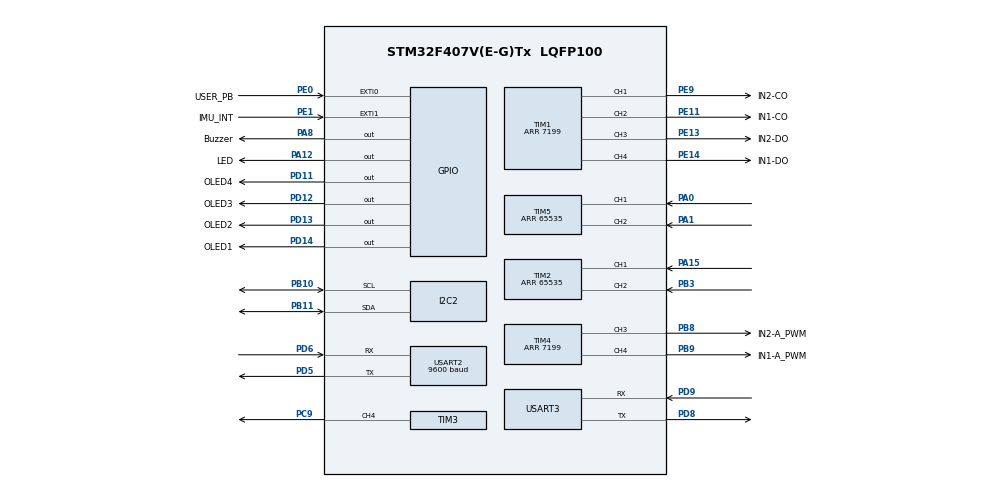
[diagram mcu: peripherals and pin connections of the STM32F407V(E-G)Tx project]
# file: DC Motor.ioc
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Mcu.Family=STM32F4
Mcu.Name=STM32F407V(E-G)Tx
Mcu.Package=LQFP100
NVIC.EXTI0_IRQn=true\:0\:0\:false\:false\:true\:true\:true\:true
NVIC.EXTI1_IRQn=true\:0\:0\:false\:false\:true\:true\:true\:true
NVIC.PriorityGroup=NVIC_PRIORITYGROUP_4
NVIC.RCC_IRQn=true\:0\:0\:false\:false\:true\:true\:false\:true
NVIC.TIM2_IRQn=true\:0\:0\:false\:false\:true\:true\:true\:true
NVIC.USART2_IRQn=true\:0\:0\:false\:false\:true\:true\:true\:true
PA0-WKUP.Signal=S_TIM5_CH1
PA1.Signal=S_TIM5_CH2
PA12.GPIO_Label=LED
PA12.Signal=GPIO_Output
PA13.Mode=Serial_Wire
PA13.Signal=SYS_JTMS-SWDIO
PA14.Mode=Serial_Wire
PA14.Signal=SYS_JTCK-SWCLK
PA15.Signal=S_TIM2_CH1_ETR
PA8.GPIO_Label=Buzzer
PA8.Signal=GPIO_Output
PB10.Mode=I2C
PB10.Signal=I2C2_SCL
PB11.Mode=I2C
PB11.Signal=I2C2_SDA
PB3.Signal=S_TIM2_CH2
PB8.GPIO_Label=IN2-A_PWM
PB8.Signal=S_TIM4_CH3
PB9.GPIO_Label=IN1-A_PWM
PB9.Signal=S_TIM4_CH4
PC9.Signal=S_TIM3_CH4
PD11.GPIO_Label=OLED4
PD11.Signal=GPIO_Output
PD12.GPIO_Label=OLED3
PD12.Signal=GPIO_Output
PD13.GPIO_Label=OLED2
PD13.Signal=GPIO_Output
PD14.GPIO_Label=OLED1
PD14.Signal=GPIO_Output
PD5.Mode=Asynchronous
PD5.Signal=USART2_TX
PD6.Mode=Asynchronous
PD6.Signal=USART2_RX
PD8.Mode=Asynchronous
PD8.Signal=USART3_TX
PD9.Mode=Asynchronous
PD9.Signal=USART3_RX
PE0.GPIO_Label=USER_PB
PE0.Signal=GPXTI0
PE1.GPIO_Label=IMU_INT
PE1.Signal=GPXTI1
PE11.GPIO_Label=IN1-CO
PE11.Signal=S_TIM1_CH2
PE13.GPIO_Label=IN2-DO
PE13.Signal=S_TIM1_CH3
PE14.GPIO_Label=IN1-DO
PE14.Signal=S_TIM1_CH4
PE9.GPIO_Label=IN2-CO
PE9.Signal=S_TIM1_CH1
PH0-OSC_IN.Mode=HSE-External-Oscillator
PH0-OSC_IN.Signal=RCC_OSC_IN
PH1-OSC_OUT.Mode=HSE-External-Oscillator
PH1-OSC_OUT.Signal=RCC_OSC_OUT
ProjectManager.HeapSize=0x200
ProjectManager.StackSize=0x400
ProjectManager.TargetToolchain=STM32CubeIDE
RCC.48MHZClocksFreq_Value=36000000
RCC.AHBFreq_Value=72000000
RCC.APB1CLKDivider=RCC_HCLK_DIV2
RCC.APB1Freq_Value=36000000
RCC.APB1TimFreq_Value=72000000
RCC.APB2Freq_Value=72000000
RCC.APB2TimFreq_Value=72000000
RCC.CortexFreq_Value=72000000
RCC.HCLKFreq_Value=72000000
RCC.HSE_VALUE=8000000
RCC.HSI_VALUE=16000000
RCC.LSE_VALUE=32768
RCC.PLLM=4
RCC.PLLN=72
RCC.PLLSourceVirtual=RCC_PLLSOURCE_HSE
RCC.SYSCLKFreq_VALUE=72000000
RCC.SYSCLKSource=RCC_SYSCLKSOURCE_PLLCLK
RCC.VCOOutputFreq_Value=144000000
SH.S_TIM1_CH1.0=TIM1_CH1,PWM Generation1 CH1
SH.S_TIM1_CH2.0=TIM1_CH2,PWM Generation2 CH2
SH.S_TIM1_CH3.0=TIM1_CH3,PWM Generation3 CH3
SH.S_TIM1_CH4.0=TIM1_CH4,PWM Generation4 CH4
SH.S_TIM2_CH1_ETR.0=TIM2_CH1,Encoder_Interface
SH.S_TIM2_CH2.0=TIM2_CH2,Encoder_Interface
SH.S_TIM3_CH4.0=TIM3_CH4,PWM Generation4 CH4
SH.S_TIM4_CH3.0=TIM4_CH3,PWM Generation3 CH3
SH.S_TIM4_CH4.0=TIM4_CH4,PWM Generation4 CH4
SH.S_TIM5_CH1.0=TIM5_CH1,Encoder_Interface
SH.S_TIM5_CH2.0=TIM5_CH2,Encoder_Interface
TIM1.Channel-PWM\ Generation1\ CH1=TIM_CHANNEL_1
TIM1.Channel-PWM\ Generation2\ CH2=TIM_CHANNEL_2
TIM1.Channel-PWM\ Generation3\ CH3=TIM_CHANNEL_3
TIM1.Channel-PWM\ Generation4\ CH4=TIM_CHANNEL_4
TIM1.CounterMode=TIM_COUNTERMODE_UP
TIM1.OCPolarity_3=TIM_OCPOLARITY_HIGH
TIM1.OCPolarity_4=TIM_OCPOLARITY_HIGH
TIM1.Period=7199
TIM11.Channel=TIM_CHANNEL_1
TIM11.Period=7199
TIM2.AutoReloadPreload=TIM_AUTORELOAD_PRELOAD_DISABLE
TIM2.EncoderMode=TIM_ENCODERMODE_TI1
TIM2.IC1Filter=0
TIM2.IC1Polarity=TIM_ICPOLARITY_RISING
TIM2.IC2Filter=0
TIM2.IC2Polarity=TIM_ICPOLARITY_RISING
TIM2.Period=65535
TIM3.Channel-PWM\ Generation4\ CH4=TIM_CHANNEL_4
TIM3.Period=2000
TIM3.Prescaler=720
TIM4.Channel-PWM\ Generation3\ CH3=TIM_CHANNEL_3
TIM4.Channel-PWM\ Generation4\ CH4=TIM_CHANNEL_4
TIM4.CounterMode=TIM_COUNTERMODE_UP
TIM4.OCPolarity_3=TIM_OCPOLARITY_LOW
TIM4.OCPolarity_4=TIM_OCPOLARITY_LOW
TIM4.Period=7199
TIM5.IC1Filter=0
TIM5.IC1Polarity=TIM_ICPOLARITY_RISING
TIM5.IC2Filter=0
TIM5.IC2Polarity=TIM_ICPOLARITY_RISING
TIM5.Period=65535
TIM8.Period=7199
USART2.BaudRate=9600
USART2.VirtualMode=VM_ASYNC
USART3.VirtualMode=VM_ASYNC
VP_TIM11_VS_ClockSourceINT.Mode=Enable_Timer
VP_TIM11_VS_no_output1.Mode=PWM Generation1 No Output
VP_TIM1_VS_ClockSourceINT.Mode=Internal
VP_TIM3_VS_ClockSourceINT.Mode=Internal
VP_TIM4_VS_ClockSourceINT.Mode=Internal
VP_TIM8_VS_ClockSourceINT.Mode=Internal
board=custom

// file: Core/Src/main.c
		/* USER CODE BEGIN Header */
	/**
	  ******************************************************************************
	  * @file           : main.c for Lab 4 (for Ver D STM32F board)
	  * @brief          : Main program body
	  ******************************************************************************
	  * @attention
	  *
	  * Copyright (c) 2022 STMicroelectronics.
	  * All rights reserved.
	  *
	  * This software is licensed under terms that can be found in the LICENSE file
	  * in the root directory of this software component.
	  * If no LICENSE file comes with this software, it is provided AS-IS.
	  *
	  ******************************************************************************
	  */
	/* USER CODE END Header */
	/* Includes ------------------------------------------------------------------*/
	#include "main.h"

	/* Private includes ----------------------------------------------------------*/
	/* USER CODE BEGIN Includes */
	#include "oled.h"
	//#include "ICM20948.h"
	//#include <math.h>
	/* USER CODE END Includes */

	/* Private typedef -----------------------------------------------------------*/

	/* Private define ------------------------------------------------------------*/

	/* Private macro -------------------------------------------------------------*/

	/* Private variables ---------------------------------------------------------*/
	 I2C_HandleTypeDef hi2c2;

	TIM_HandleTypeDef htim1;
	TIM_HandleTypeDef htim2;
	TIM_HandleTypeDef htim3;
	TIM_HandleTypeDef htim4;
	TIM_HandleTypeDef htim5;
	TIM_HandleTypeDef htim8;
	TIM_HandleTypeDef htim11;

	UART_HandleTypeDef huart2;
	UART_HandleTypeDef huart3;

	/* USER CODE BEGIN PV */
	#include "oled.h"
	//#include "MPU6050.h"
	#include <math.h>
	float motor_C_speed_factor = 0.089;  // 70% of calculated speed (adjust 0.1 to 1.0)
	float motor_D_speed_factor = 0.0769;
	int direction_state = 0;
	/* USER CODE END PV */

	/* Private function prototypes -----------------------------------------------*/
	void SystemClock_Config(void);
	static void MX_GPIO_Init(void);
	static void MX_TIM8_Init(void);
	static void MX_TIM2_Init(void);
	static void MX_USART2_UART_Init(void);
	static void MX_TIM1_Init(void);
	static void MX_USART3_UART_Init(void);
	static void MX_I2C2_Init(void);
	static void MX_TIM5_Init(void);
	static void MX_TIM4_Init(void);
	static void MX_TIM3_Init(void);
	static void MX_TIM11_Init(void);

	/* Private user code ---------------------------------------------------------*/
	/* USER CODE BEGIN 0 */

	uint32_t counter = 0;    // Timer 2 counter
	int16_t count = 0;       // Convert counter to signed value
	int16_t no_of_tick = 50; // number of tick used in SysTick to calculate speed, in msec
	int16_t speed =0;        // speed in term of number of edges detected per Systick
	int16_t rpm = 0;         // speed in rpm number of count/sec * 60 sec  divide by 260 count per round
	int start=0;             // use to start stop the motor
	int32_t pwmVal=0;       //pwm value to control motor speed
	int32_t pwmVal_raw=0;   //pwm value before clamping - for debugging
	int16_t pwmMax = (7200-200); // Maximum PWM value = 7200 keep the maximum value to 7000
	int16_t pwmMin = 250;    // offset value to compensate for deadzone
	int err; // status for checking return

	char buf[20];      //buffer for displaying values on OLED display
	int encoder_A = 0; // encoders reading of Drive A (from complement of TIM2->CNT)
	int encoder_D = 0; // encoders reading of Drive D (from TIM5->CNT)

	int16_t position = 0;     // position of the motor (1 rotation = 260 count)
	extern int16_t oldpos;    // // see SysTick_Handler in stm32f4xx_it.c
	int16_t angle = 0;        // angle of rotation, in degree resolution = 360 degree/260 tick
	int16_t target_angle = 0; // target angle of rotation,
	int16_t position_target;  // target position
	int16_t direction;        // motor direction 0 or 1
	int16_t error;            // error between target and actual
	int32_t error_area = 0;   // area under error - to calculate I for PI implementation
	int32_t error_old, error_change, error_rate; // to calculate D for PID control
	int32_t millisOld, millisNow, dt; // to calculate I and D for PID control

	int16_t Kp = 0;  // Initial PID values
	int16_t Kd = 0;
	float_t Ki = 0;

#define PWM_ARR 7199   // same as TIM1->ARR / htim1.Init.Period

	void HAL_TIM_IC_CaptureCallback(TIM_HandleTypeDef *htim){
		counter = __HAL_TIM_GET_COUNTER(htim);
		count = (int16_t)counter;
		position = count/2;  // x2 encoding
		angle = count/2; // x2 encoding
	}

	void HAL_GPIO_EXTI_Callback( uint16_t GPIO_Pin ) {
	    // see EXTI0_IRQHandler() in stm32f4xx_it.c for interrupt
	    if ( GPIO_Pin == USER_PB_Pin) {
	        // toggle LED
	        HAL_GPIO_TogglePin(GPIOA, GPIO_PIN_12); // LED - A12

	        // Toggle direction state
	        direction_state = !direction_state;  // Simpler toggle: 0->1 or 1->0
	    }
	}

//	void HAL_GPIO_EXTI_Callback( uint16_t GPIO_Pin ) {
//		 // see EXTI0_IRQHandler() in stm32f4xx_it.c for interrupt
//		if ( GPIO_Pin == USER_PB_Pin) {
//			// toggle LED
//			HAL_GPIO_TogglePin(GPIOA, GPIO_PIN_12); // LED - A12
//			if (start == 0){
//				start = 1;
//				// reset all value to Zero
//				TIM2->CNT = 0; // Timer Counter Value
//				speed = 0;
//				position = 0;  // see SysTick_Handler in stm32f4xx_it.c
//				oldpos = 0; // see SysTick_Handler in stm32f4xx_it.c
//				angle = 0;
//				pwmVal = 0;
//				}
//			else
//				start = 0;
//			}
//	}

	void MotorDrive_enable(void) {
		  //Enable PWM through TIM4-CH1/CH4 to drive the DC motor - Rev D board
		  HAL_TIM_PWM_Start(&htim4, TIM_CHANNEL_3);  // on Motor drive A interface
		  HAL_TIM_PWM_Start(&htim4, TIM_CHANNEL_4);  // on Motor drive A interface
		  HAL_TIM_PWM_Start(&htim1, TIM_CHANNEL_3);  // on Motor drive D interface
		  HAL_TIM_PWM_Start(&htim1, TIM_CHANNEL_4);  // on Motor drive D interface
		  HAL_TIM_PWM_Start(&htim1, TIM_CHANNEL_1);//cout
		  HAL_TIM_PWM_Start(&htim1, TIM_CHANNEL_2);//cout

	}

	void MotorC_direction(uint8_t forward){
	  if(forward){
		__HAL_TIM_SetCompare(&htim1, TIM_CHANNEL_1, 0); // IN1=0
	  } else {
		__HAL_TIM_SetCompare(&htim1, TIM_CHANNEL_2, 0); // IN2=0
	  }
	}
	void MotorC_stop(void){
	  __HAL_TIM_SetCompare(&htim1, TIM_CHANNEL_1, PWM_ARR);
	  __HAL_TIM_SetCompare(&htim1, TIM_CHANNEL_2, PWM_ARR);
	}

	void MotorC_forward(int pwm){
	  // choose which channel means "forward" for your wiring
	  __HAL_TIM_SetCompare(&htim1, TIM_CHANNEL_1, pwm);
	  __HAL_TIM_SetCompare(&htim1, TIM_CHANNEL_2, 0);
	}

	void MotorC_reverse(int pwm){
	  __HAL_TIM_SetCompare(&htim1, TIM_CHANNEL_1, 0);
	  __HAL_TIM_SetCompare(&htim1, TIM_CHANNEL_2, pwm);
	}

	void MotorD_reverse(int pwm){
	  // Motor D forward
	  __HAL_TIM_SetCompare(&htim1, TIM_CHANNEL_3, 0);  // IN1=0
	  __HAL_TIM_SetCompare(&htim1, TIM_CHANNEL_4, pwm); // IN2=pwm
	}

	void MotorD_forward(int pwm){
	  // Motor D reverse
	  __HAL_TIM_SetCompare(&htim1, TIM_CHANNEL_3, pwm); // IN1=pwm
	  __HAL_TIM_SetCompare(&htim1, TIM_CHANNEL_4, 0);   // IN2=0
	}

	void Motor_stop(void) {
			//Set both IN1 and IN2 pins = '1'
			__HAL_TIM_SetCompare(&htim4,TIM_CHANNEL_3,0);
			__HAL_TIM_SetCompare(&htim4,TIM_CHANNEL_4,0);
			__HAL_TIM_SetCompare(&htim1,TIM_CHANNEL_3,0);
			__HAL_TIM_SetCompare(&htim1,TIM_CHANNEL_4,0);
			  // C
			  MotorC_stop();

//			__HAL_TIM_SetCompare(&htim1, TIM_CHANNEL_1, 0);
//			  __HAL_TIM_SetCompare(&htim1, TIM_CHANNEL_2, 0);
	}

	void Motor_direction(uint8_t forward) {
		if (forward){// move forward
			__HAL_TIM_SetCompare(&htim4,TIM_CHANNEL_3,0); // set IN1 to maximum PWM (7199) for '1'
			__HAL_TIM_SetCompare(&htim1,TIM_CHANNEL_3,0); // set IN1 to maximum PWM (7199) for '1' for Drive D
		  }
		else { // reverse
			__HAL_TIM_SetCompare(&htim4,TIM_CHANNEL_4,0); // set IN2 to maximum PWM (7199) for '1'
			__HAL_TIM_SetCompare(&htim1,TIM_CHANNEL_4,0); // set IN2 to maximum PWM (7199) for '1' for Drive D
		}
	}

	void Motor_forward(int  pwmVal){
		 // rotate motor in clockwise forward send the values to serial port for display
		 Motor_direction(1); //forward
		 __HAL_TIM_SetCompare(&htim4,TIM_CHANNEL_4,pwmVal); // output PWM waveform to drive motor A
		 __HAL_TIM_SetCompare(&htim1,TIM_CHANNEL_4,pwmVal); // output PWM waveform to drive motor D - for debugging
		 //__HAL_TIM_SetCompare(&htim1, TIM_CHANNEL_1, pwmVal);  // C IN2 pwm

		sprintf(buf, "PWM = %4dF ", pwmVal);
		OLED_ShowString(0, 20, buf);
		//OLED_Refresh_Gram();
	}

	void Motor_reverse(int  pwmVal){
		 // move robot forward send the values to serial port for display
		 Motor_direction(0); //reverse
		 __HAL_TIM_SetCompare(&htim4,TIM_CHANNEL_3,pwmVal); // output PWM waveform to drive motor A
		 __HAL_TIM_SetCompare(&htim1,TIM_CHANNEL_3,pwmVal); // output PWM waveform to drive motor D - for debugging
		  //__HAL_TIM_SetCompare(&htim1, TIM_CHANNEL_2, pwmVal);

		sprintf(buf, "PWM = %4dR ", pwmVal);
		OLED_ShowString(0, 20, buf);
		//OLED_Refresh_Gram();
	}

	int16_t PID_Control(){
		  //Control Loop
		  if (abs(error)>2){ //more than 2 degree difference
			  //HAL_GPIO_TogglePin(GPIOB, GPIO_PIN_10); //Buzzer
			  angle = (int)(position*360/265);  // supposed to be 260 ticks/rev, measured = 265
			  error = target_angle - angle;

			sprintf(buf, "error = %5d, ", (int)error);
			HAL_UART_Transmit(&huart2, buf, 14, HAL_MAX_DELAY); // Send through BT @9600
			sprintf(buf, " Kp = %5d, ", Kp);
			HAL_UART_Transmit(&huart2, buf, 14, HAL_MAX_DELAY); // Send through BT @9600

			if (error > 0)
			  direction = 0; //forward
			else
			  direction = 1; //reverse direction

			millisNow = HAL_GetTick();
			dt = (millisNow - millisOld); // time elapsed in millisecond
			millisOld = millisNow; // store the current time for next round

			error_area = error_area + error*dt; // area under error for Ki

			error_change = error - error_old; // change in error
			error_old = error; //store the error for next round
			error_rate = (error_change)*1000/dt; // for Kd - dt in millsecond

			pwmVal = (int)(error*Kp + error_area*Ki/10000);  // PI, D is below
			pwmVal_raw = (int)(error*Kp); // for debugging

			// Adjust pwmVal to account for deadzone
			if (pwmVal>0)
				pwmVal = pwmVal+pwmMin;
			if (pwmVal<0)
				pwmVal = pwmVal-pwmMin;

			if (pwmVal > pwmMax)  // Clamp the PWM to its maximum positive value
			   pwmVal = pwmMax;

			pwmVal = (int)(pwmVal + error_rate*Kd);  // + D which is subtration

			if (pwmVal < -pwmMax)  // Clamp the PWM to its minimum negative value
			   pwmVal = -pwmMax;

			sprintf(buf, " Praw = %6d, ", pwmVal_raw);
			HAL_UART_Transmit(&huart2, buf, 17, HAL_MAX_DELAY); // Send through BT @9600

			sprintf(buf, " Pwm = %6d ", pwmVal);
			HAL_UART_Transmit(&huart2, buf, 17, HAL_MAX_DELAY); // Send through BT @9600

			buf[0] = '\r';
			buf[1] = '\n';  // move to next line on serial port
			HAL_UART_Transmit(&huart2, buf, 2, HAL_MAX_DELAY); // Send through USB port

			return(pwmVal);
			} // if loop
	}

	void serial_uart(){
		 // send various values to serial port @ usart 3 for display
			  angle = (int)(position*360/265); //Hall Sensor = 26 poles/13 pulses, DC motor = 20x13 = 260 pulses per revolution
											   // measured value = 265 pulses per revolution
			  sprintf(buf, "%5d", angle);
			  OLED_ShowString(60, 10, buf);
			  //also send to serial port
			  HAL_UART_Transmit(&huart3, buf, 5, HAL_MAX_DELAY); // Send to Uart3 USB port

			  buf[0]=',';  // comma separator
			  HAL_UART_Transmit(&huart3, buf, 1, HAL_MAX_DELAY); // Send to Uart3 USB port

			  sprintf(buf, "%5d", target_angle);
			  HAL_UART_Transmit(&huart3, buf, 5, HAL_MAX_DELAY); // Send to Uart3 USB port

			  buf[0]=',';
			  HAL_UART_Transmit(&huart3, buf, 1, HAL_MAX_DELAY); // Send to Uart3 USB port

			  sprintf(buf, "%5d", error);
			  HAL_UART_Transmit(&huart3, buf, 5, HAL_MAX_DELAY); // Send to Uart3 USB port

			  buf[0]=',';
			  HAL_UART_Transmit(&huart3, buf, 1, HAL_MAX_DELAY); // Send to Uart3 USB port

			  sprintf(buf, "%5d", pwmVal);
			  HAL_UART_Transmit(&huart3, buf, 5, HAL_MAX_DELAY); // Send to Uart3 USB port
			  OLED_ShowString(40, 20, buf);

			  buf[0]=',';
			  HAL_UART_Transmit(&huart3, buf, 1, HAL_MAX_DELAY); // Send to Uart3 USB port

			  sprintf(buf, "%5d", error_area);
			  HAL_UART_Transmit(&huart3, buf, 5, HAL_MAX_DELAY); // Send to Uart3 USB port

			  buf[0]=',';
			  HAL_UART_Transmit(&huart3, buf, 1, HAL_MAX_DELAY); // Send to Uart3 USB port

			  sprintf(buf, "%5d", error_change);
			  HAL_UART_Transmit(&huart3, buf, 5, HAL_MAX_DELAY); // Send to Uart3 USB port

			  buf[0]=',';
			  HAL_UART_Transmit(&huart3, buf, 1, HAL_MAX_DELAY); // Send to Uart3 USB port

			  sprintf(buf, "%5d", error_rate);
			  HAL_UART_Transmit(&huart3, buf, 5, HAL_MAX_DELAY); // Send to Uart3 USB port

			  buf[0]=',';
			  HAL_UART_Transmit(&huart3, buf, 1, HAL_MAX_DELAY); // Send to Uart3 USB port

			  sprintf(buf, "%4d ", speed);  // RPM speed of the DC motor
			  HAL_UART_Transmit(&huart3, buf, 5, HAL_MAX_DELAY); // Send to Uart3 USB port
			  OLED_ShowString(40, 30, buf);
			  OLED_Refresh_Gram();

			  buf[0] = '\r';
			  buf[1] = '\n';  // move to next line on serial port
			  HAL_UART_Transmit(&huart3, buf, 2, HAL_MAX_DELAY); // Send through USB port
	}

	/* USER CODE END 0 */

	/**
	  * @brief  The application entry point.
	  * @retval int
	  */
	int main(void)
	{
	  /* USER CODE BEGIN 1 */
	  uint8_t *oled_buf; // buffer to store value to be display on OLED
	  uint8_t i, status; // status for checking return

	  /* USER CODE END 1 */

	  /* MCU Configuration--------------------------------------------------------*/

	  /* Reset of all peripherals, Initializes the Flash interface and the Systick. */
	  HAL_Init();

	  /* Configure the system clock */
	  SystemClock_Config();

	  /* Initialize all configured peripherals */
	  MX_GPIO_Init();
	  MX_TIM8_Init();
	  MX_TIM2_Init();
	  MX_USART2_UART_Init();
	  MX_TIM1_Init();
	  MX_USART3_UART_Init();
	  MX_I2C2_Init();
	  MX_TIM5_Init();
	  MX_TIM4_Init();
	  MX_TIM3_Init();
	  MX_TIM11_Init();
	  /* USER CODE BEGIN 2 */

	  MotorDrive_enable(); // enable PWM needed to drive MotroDrive A and D

	  // start TIM2/TIM5-Encoder to read Motor rotation in interrupt mode
	  // Hall sensors produce 13 ticks/counts per turn, gear ratio = 20
	  // 260 count per rotation of output (wheel)
	  // 360 degree = 260 ticks/counts
	  HAL_TIM_Encoder_Start_IT(&htim2, TIM_CHANNEL_ALL); // Motor Drive A
	  HAL_TIM_Encoder_Start_IT(&htim5, TIM_CHANNEL_ALL); // Motor Drive D
	  rpm = (int)((1000/no_of_tick) * 60/260 * 1/dt);  // For calculating motor rpm - by multiplying it with speed value

	  OLED_Init();
	  OLED_ShowString(10, 5, "SC2104/CE3002"); // show message on OLED display at line 5)
	  OLED_ShowString(40, 30, "Lab 4"); // show message on OLED display at line 30)
	  oled_buf = "Motor Control"; // anther way to show message through buffer
	  OLED_ShowString(10,50, oled_buf); //another message at line 50

	  uint8_t sbuf[] = "SC2104\n\r";  // send to serial port
	  HAL_UART_Transmit(&huart3, sbuf, sizeof(sbuf), HAL_MAX_DELAY); // Send through Serial Port @115200
	  HAL_UART_Transmit(&huart2, sbuf, sizeof(sbuf), HAL_MAX_DELAY); // Send through BT @9600

	  OLED_Refresh_Gram();
	  HAL_Delay(3000); // pause for 3 second to show message
	  OLED_Clear(); // get display ready

	  /* USER CODE END 2 */

	  /* Infinite loop */
	  /* USER CODE BEGIN WHILE */

	  start = 0;
	  angle = 0;
	  target_angle = 1000; // rotate 1000 degree
	  error = target_angle - angle;
	  error_old = 0;
	  error_area = 0;

	  // motor drive here
	  OLED_Clear();
	  OLED_ShowString(0, 0, "Target: ");
	  OLED_ShowString(0, 10, "Rotated: ");
	  OLED_ShowString(0, 30, "RPM = ");
	  sprintf(buf, "%4d", target_angle);//Hall Sensor = 26 poles/13 pulses, DC motor = 20x13 = 260 pulse per revolution
	  OLED_ShowString(60, 0, buf);

	  OLED_ShowString(15, 40, "Press User"); // show message on OLED display at line 40)
	  OLED_ShowString(0, 50, "button to stop"); // show message on OLED display at line 50)
	  OLED_Refresh_Gram();

	  Kp = 5;   // range: 1 to 10
	  Ki = 3;   // range 0 to 3
	  Kd = 1;   // range: 0 to 3

	  if (target_angle > 0)  // Determine rotation direction)
		 direction = 0;
	  else
		 direction = 1;

	  start = 1; // do a step response upon reset and power up
	  MotorDrive_enable(); // enable PWM needed to drive MotroDrive A and D
	  millisOld = HAL_GetTick(); // get time value before starting - for PID

	  while (1){
//		  if (start==0){ // reset and wait for the User PB to be pressed
//			  Motor_stop();
//			  HAL_GPIO_TogglePin(GPIOE, GPIO_PIN_10); // LED
//			  OLED_ShowString(15, 40, "Press User"); // show message on OLED display at line 40)
//			  OLED_ShowString(0, 50, "button to start"); // show message on OLED display at line 50)
//			  OLED_Refresh_Gram();
//			  err = 0;// for checking whether error has settle down near to zero
//			  angle = 0;
//			  error_old = 0;
//			  error_area = 0;
//			  error = target_angle - angle;
//			  }
//		  while (start==0){ //wait for the User PB to be pressed
//			  HAL_Delay(500);
//			  millisOld = HAL_GetTick(); // get time value before starting - for PID
//			  }

		  pwmVal = PID_Control(); // call the PID control loop calculation
		  //pwmVal = 600;          // this will overwrite PID control above
		  //error = 5;              // to overwrite control loop checking

		  int32_t pwm = pwmVal;
		  if (pwm < 0) pwm = -pwm;        // abs()
		  if (pwm > pwmMax) pwm = pwmMax; // clamp

		  // Calculate separate speeds for C and D
		  int32_t pwm_C = (int32_t)(pwm * motor_C_speed_factor);
		  int32_t pwm_D = (int32_t)(pwm * motor_D_speed_factor);

		  if (pwm_C > pwmMax) pwm_C = pwmMax;
		  if (pwm_D > pwmMax) pwm_D = pwmMax;

		    // Use direction_state to control motor direction
		    if (direction_state == 0) {
		        // Forward direction
		        if (direction == 0) {
		            Motor_reverse(pwm);      // Motor A
		            MotorC_reverse(pwm_C);   // Motor C
		            MotorD_reverse(pwm_D);   // Motor D
		        } else {
		            Motor_forward(pwm);      // Motor A
		            MotorC_forward(pwm_C);   // Motor C
		            MotorD_forward(pwm_D);   // Motor D
		        }
		    } else {
		        // Reverse direction (swap forward/reverse)
		        if (direction == 0) {
		            Motor_forward(pwm);      // Motor A (reversed)
		            MotorC_forward(pwm_C);   // Motor C (reversed)
		            MotorD_forward(pwm_D);   // Motor D (reversed)
		        } else {
		            Motor_reverse(pwm);      // Motor A (reversed)
		            MotorC_reverse(pwm_C);   // Motor C (reversed)
		            MotorD_reverse(pwm_D);   // Motor D (reversed)
		        }
		    }

//		  if (direction == 0) {
//		    Motor_reverse(pwm);      // Motor A
//		    MotorC_reverse(pwm_C);   // Motor C at 70% speed
//		    MotorD_reverse(pwm_D);   // Motor D at 50% speed
//		  } else {
//		    Motor_forward(pwm);      // Motor A
//		    MotorC_forward(pwm_C);   // Motor C at 70% speed
//		    MotorD_forward(pwm_D);   // Motor D at 50% speed
//		  }
		  if (abs(error) <= 3){ // error is not more than 3 deg - assume steady state
			  err++; // to keep track how long it has reached steady state
			  angle = (int)(position*360/260);  //calculate the angle
			  error = target_angle - angle; // calculate the error
			  }

		  serial_uart(); // send the various data to the serial port for display

		  if (err > 5) { // error has settled to within the acceptance ranges
		          // Optional: Add buzzer feedback when target reached
		          HAL_GPIO_TogglePin(GPIOB, GPIO_PIN_10); //Buzzer On
		          HAL_Delay(500);
		          HAL_GPIO_TogglePin(GPIOB, GPIO_PIN_10); //Buzzer Off
		          err = 0; // Reset error counter to continue running
		      }

		      // Update OLED display
		      sprintf(buf, "Dir:%s", direction_state == 0 ? "FWD" : "REV");
		      OLED_ShowString(0, 40, buf);
		      OLED_ShowString(0, 50, "Press to swap");
		      OLED_Refresh_Gram();

		/* USER CODE END WHILE */

		/* USER CODE BEGIN 3 */
		} // while

	  /* USER CODE END 3 */
	}

	/**
	  * @brief System Clock Configuration
	  * @retval None
	  */
	void SystemClock_Config(void)
	{
	  RCC_OscInitTypeDef RCC_OscInitStruct = {0};
	  RCC_ClkInitTypeDef RCC_ClkInitStruct = {0};

	  /** Configure the main internal regulator output voltage
	  */
	  __HAL_RCC_PWR_CLK_ENABLE();
	  __HAL_PWR_VOLTAGESCALING_CONFIG(PWR_REGULATOR_VOLTAGE_SCALE1);

	  /** Initializes the RCC Oscillators according to the specified parameters
	  * in the RCC_OscInitTypeDef structure.
	  */
	  RCC_OscInitStruct.OscillatorType = RCC_OSCILLATORTYPE_HSE;
	  RCC_OscInitStruct.HSEState = RCC_HSE_ON;
	  RCC_OscInitStruct.PLL.PLLState = RCC_PLL_ON;
	  RCC_OscInitStruct.PLL.PLLSource = RCC_PLLSOURCE_HSE;
	  RCC_OscInitStruct.PLL.PLLM = 4;
	  RCC_OscInitStruct.PLL.PLLN = 72;
	  RCC_OscInitStruct.PLL.PLLP = RCC_PLLP_DIV2;
	  RCC_OscInitStruct.PLL.PLLQ = 4;
	  if (HAL_RCC_OscConfig(&RCC_OscInitStruct) != HAL_OK)
	  {
		Error_Handler();
	  }

	  /** Initializes the CPU, AHB and APB buses clocks
	  */
	  RCC_ClkInitStruct.ClockType = RCC_CLOCKTYPE_HCLK|RCC_CLOCKTYPE_SYSCLK
								  |RCC_CLOCKTYPE_PCLK1|RCC_CLOCKTYPE_PCLK2;
	  RCC_ClkInitStruct.SYSCLKSource = RCC_SYSCLKSOURCE_PLLCLK;
	  RCC_ClkInitStruct.AHBCLKDivider = RCC_SYSCLK_DIV1;
	  RCC_ClkInitStruct.APB1CLKDivider = RCC_HCLK_DIV2;
	  RCC_ClkInitStruct.APB2CLKDivider = RCC_HCLK_DIV1;

	  if (HAL_RCC_ClockConfig(&RCC_ClkInitStruct, FLASH_LATENCY_2) != HAL_OK)
	  {
		Error_Handler();
	  }
	}

	/**
	  * @brief I2C2 Initialization Function
	  * @param None
	  * @retval None
	  */
	static void MX_I2C2_Init(void)
	{

	  hi2c2.Instance = I2C2;
	  hi2c2.Init.ClockSpeed = 100000;
	  hi2c2.Init.DutyCycle = I2C_DUTYCYCLE_2;
	  hi2c2.Init.OwnAddress1 = 0;
	  hi2c2.Init.AddressingMode = I2C_ADDRESSINGMODE_7BIT;
	  hi2c2.Init.DualAddressMode = I2C_DUALADDRESS_DISABLE;
	  hi2c2.Init.OwnAddress2 = 0;
	  hi2c2.Init.GeneralCallMode = I2C_GENERALCALL_DISABLE;
	  hi2c2.Init.NoStretchMode = I2C_NOSTRETCH_DISABLE;
	  if (HAL_I2C_Init(&hi2c2) != HAL_OK)
	  {
		Error_Handler();
	  }

	}

	/**
	  * @brief TIM1 Initialization Function
	  * @param None
	  * @retval None
	  */
	static void MX_TIM1_Init(void)
	{

	  TIM_ClockConfigTypeDef sClockSourceConfig = {0};
	  TIM_MasterConfigTypeDef sMasterConfig = {0};
	  TIM_OC_InitTypeDef sConfigOC = {0};
	  TIM_BreakDeadTimeConfigTypeDef sBreakDeadTimeConfig = {0};

	  htim1.Instance = TIM1;
	  htim1.Init.Prescaler = 0;
	  htim1.Init.CounterMode = TIM_COUNTERMODE_UP;
	  htim1.Init.Period = 7199;
	  htim1.Init.ClockDivision = TIM_CLOCKDIVISION_DIV1;
	  htim1.Init.RepetitionCounter = 0;
	  htim1.Init.AutoReloadPreload = TIM_AUTORELOAD_PRELOAD_DISABLE;
	  if (HAL_TIM_Base_Init(&htim1) != HAL_OK)
	  {
		Error_Handler();
	  }
	  sClockSourceConfig.ClockSource = TIM_CLOCKSOURCE_INTERNAL;
	  if (HAL_TIM_ConfigClockSource(&htim1, &sClockSourceConfig) != HAL_OK)
	  {
		Error_Handler();
	  }
	  if (HAL_TIM_PWM_Init(&htim1) != HAL_OK)
	  {
		Error_Handler();
	  }
	  sMasterConfig.MasterOutputTrigger = TIM_TRGO_RESET;
	  sMasterConfig.MasterSlaveMode = TIM_MASTERSLAVEMODE_DISABLE;
	  if (HAL_TIMEx_MasterConfigSynchronization(&htim1, &sMasterConfig) != HAL_OK)
	  {
		Error_Handler();
	  }
	  sConfigOC.OCMode = TIM_OCMODE_PWM1;
	  sConfigOC.Pulse = 0;
	  sConfigOC.OCPolarity = TIM_OCPOLARITY_LOW;
	  sConfigOC.OCNPolarity = TIM_OCNPOLARITY_HIGH;
	  sConfigOC.OCFastMode = TIM_OCFAST_DISABLE;
	  sConfigOC.OCIdleState = TIM_OCIDLESTATE_RESET;
	  sConfigOC.OCNIdleState = TIM_OCNIDLESTATE_RESET;
	  if (HAL_TIM_PWM_ConfigChannel(&htim1, &sConfigOC, TIM_CHANNEL_1) != HAL_OK)
	  {
		Error_Handler();
	  }
	  if (HAL_TIM_PWM_ConfigChannel(&htim1, &sConfigOC, TIM_CHANNEL_2) != HAL_OK)
	  {
		Error_Handler();
	  }
	  sConfigOC.OCPolarity = TIM_OCPOLARITY_LOW;
	  if (HAL_TIM_PWM_ConfigChannel(&htim1, &sConfigOC, TIM_CHANNEL_3) != HAL_OK)
	  {
		Error_Handler();
	  }
	  if (HAL_TIM_PWM_ConfigChannel(&htim1, &sConfigOC, TIM_CHANNEL_4) != HAL_OK)
	  {
		Error_Handler();
	  }
	  sBreakDeadTimeConfig.OffStateRunMode = TIM_OSSR_DISABLE;
	  sBreakDeadTimeConfig.OffStateIDLEMode = TIM_OSSI_DISABLE;
	  sBreakDeadTimeConfig.LockLevel = TIM_LOCKLEVEL_OFF;
	  sBreakDeadTimeConfig.DeadTime = 0;
	  sBreakDeadTimeConfig.BreakState = TIM_BREAK_DISABLE;
	  sBreakDeadTimeConfig.BreakPolarity = TIM_BREAKPOLARITY_HIGH;
	  sBreakDeadTimeConfig.AutomaticOutput = TIM_AUTOMATICOUTPUT_DISABLE;
	  if (HAL_TIMEx_ConfigBreakDeadTime(&htim1, &sBreakDeadTimeConfig) != HAL_OK)
	  {
		Error_Handler();
	  }
	  HAL_TIM_MspPostInit(&htim1);

	}

	/**
	  * @brief TIM2 Initialization Function
	  * @param None
	  * @retval None
	  */
	static void MX_TIM2_Init(void)
	{

	  TIM_Encoder_InitTypeDef sConfig = {0};
	  TIM_MasterConfigTypeDef sMasterConfig = {0};

	  htim2.Instance = TIM2;
	  htim2.Init.Prescaler = 0;
	  htim2.Init.CounterMode = TIM_COUNTERMODE_UP;
	  htim2.Init.Period = 65535;
	  htim2.Init.ClockDivision = TIM_CLOCKDIVISION_DIV1;
	  htim2.Init.AutoReloadPreload = TIM_AUTORELOAD_PRELOAD_DISABLE;
	  sConfig.EncoderMode = TIM_ENCODERMODE_TI1;
	  sConfig.IC1Polarity = TIM_ICPOLARITY_RISING;
	  sConfig.IC1Selection = TIM_ICSELECTION_DIRECTTI;
	  sConfig.IC1Prescaler = TIM_ICPSC_DIV1;
	  sConfig.IC1Filter = 0;
	  sConfig.IC2Polarity = TIM_ICPOLARITY_RISING;
	  sConfig.IC2Selection = TIM_ICSELECTION_DIRECTTI;
	  sConfig.IC2Prescaler = TIM_ICPSC_DIV1;
	  sConfig.IC2Filter = 0;
	  if (HAL_TIM_Encoder_Init(&htim2, &sConfig) != HAL_OK)
	  {
		Error_Handler();
	  }
	  sMasterConfig.MasterOutputTrigger = TIM_TRGO_RESET;
	  sMasterConfig.MasterSlaveMode = TIM_MASTERSLAVEMODE_DISABLE;
	  if (HAL_TIMEx_MasterConfigSynchronization(&htim2, &sMasterConfig) != HAL_OK)
	  {
		Error_Handler();
	  }

	}

	/**
	  * @brief TIM3 Initialization Function
	  * @param None
	  * @retval None
	  */
	static void MX_TIM3_Init(void)
	{

	  TIM_ClockConfigTypeDef sClockSourceConfig = {0};
	  TIM_MasterConfigTypeDef sMasterConfig = {0};
	  TIM_OC_InitTypeDef sConfigOC = {0};

	  htim3.Instance = TIM3;
	  htim3.Init.Prescaler = 720;
	  htim3.Init.CounterMode = TIM_COUNTERMODE_UP;
	  htim3.Init.Period = 2000;
	  htim3.Init.ClockDivision = TIM_CLOCKDIVISION_DIV1;
	  htim3.Init.AutoReloadPreload = TIM_AUTORELOAD_PRELOAD_DISABLE;
	  if (HAL_TIM_Base_Init(&htim3) != HAL_OK)
	  {
		Error_Handler();
	  }
	  sClockSourceConfig.ClockSource = TIM_CLOCKSOURCE_INTERNAL;
	  if (HAL_TIM_ConfigClockSource(&htim3, &sClockSourceConfig) != HAL_OK)
	  {
		Error_Handler();
	  }
	  if (HAL_TIM_PWM_Init(&htim3) != HAL_OK)
	  {
		Error_Handler();
	  }
	  sMasterConfig.MasterOutputTrigger = TIM_TRGO_RESET;
	  sMasterConfig.MasterSlaveMode = TIM_MASTERSLAVEMODE_DISABLE;
	  if (HAL_TIMEx_MasterConfigSynchronization(&htim3, &sMasterConfig) != HAL_OK)
	  {
		Error_Handler();
	  }
	  sConfigOC.OCMode = TIM_OCMODE_PWM1;
	  sConfigOC.Pulse = 0;
	  sConfigOC.OCPolarity = TIM_OCPOLARITY_HIGH;
	  sConfigOC.OCFastMode = TIM_OCFAST_DISABLE;
	  if (HAL_TIM_PWM_ConfigChannel(&htim3, &sConfigOC, TIM_CHANNEL_4) != HAL_OK)
	  {
		Error_Handler();
	  }
	  HAL_TIM_MspPostInit(&htim3);

	}

	/**
	  * @brief TIM4 Initialization Function
	  * @param None
	  * @retval None
	  */
	static void MX_TIM4_Init(void)
	{

	  TIM_ClockConfigTypeDef sClockSourceConfig = {0};
	  TIM_MasterConfigTypeDef sMasterConfig = {0};
	  TIM_OC_InitTypeDef sConfigOC = {0};

	  htim4.Instance = TIM4;
	  htim4.Init.Prescaler = 0;
	  htim4.Init.CounterMode = TIM_COUNTERMODE_UP;
	  htim4.Init.Period = 7199;
	  htim4.Init.ClockDivision = TIM_CLOCKDIVISION_DIV1;
	  htim4.Init.AutoReloadPreload = TIM_AUTORELOAD_PRELOAD_DISABLE;
	  if (HAL_TIM_Base_Init(&htim4) != HAL_OK)
	  {
		Error_Handler();
	  }
	  sClockSourceConfig.ClockSource = TIM_CLOCKSOURCE_INTERNAL;
	  if (HAL_TIM_ConfigClockSource(&htim4, &sClockSourceConfig) != HAL_OK)
	  {
		Error_Handler();
	  }
	  if (HAL_TIM_PWM_Init(&htim4) != HAL_OK)
	  {
		Error_Handler();
	  }
	  sMasterConfig.MasterOutputTrigger = TIM_TRGO_RESET;
	  sMasterConfig.MasterSlaveMode = TIM_MASTERSLAVEMODE_DISABLE;
	  if (HAL_TIMEx_MasterConfigSynchronization(&htim4, &sMasterConfig) != HAL_OK)
	  {
		Error_Handler();
	  }
	  sConfigOC.OCMode = TIM_OCMODE_PWM1;
	  sConfigOC.Pulse = 0;
	  sConfigOC.OCPolarity = TIM_OCPOLARITY_LOW;
	  sConfigOC.OCFastMode = TIM_OCFAST_DISABLE;
	  if (HAL_TIM_PWM_ConfigChannel(&htim4, &sConfigOC, TIM_CHANNEL_3) != HAL_OK)
	  {
		Error_Handler();
	  }
	  if (HAL_TIM_PWM_ConfigChannel(&htim4, &sConfigOC, TIM_CHANNEL_4) != HAL_OK)
	  {
		Error_Handler();
	  }
	  HAL_TIM_MspPostInit(&htim4);

	}

	/**
	  * @brief TIM5 Initialization Function
	  * @param None
	  * @retval None
	  */
	static void MX_TIM5_Init(void)
	{

	  TIM_Encoder_InitTypeDef sConfig = {0};
	  TIM_MasterConfigTypeDef sMasterConfig = {0};

	  htim5.Instance = TIM5;
	  htim5.Init.Prescaler = 0;
	  htim5.Init.CounterMode = TIM_COUNTERMODE_UP;
	  htim5.Init.Period = 65535;
	  htim5.Init.ClockDivision = TIM_CLOCKDIVISION_DIV1;
	  htim5.Init.AutoReloadPreload = TIM_AUTORELOAD_PRELOAD_DISABLE;
	  sConfig.EncoderMode = TIM_ENCODERMODE_TI1;
	  sConfig.IC1Polarity = TIM_ICPOLARITY_RISING;
	  sConfig.IC1Selection = TIM_ICSELECTION_DIRECTTI;
	  sConfig.IC1Prescaler = TIM_ICPSC_DIV1;
	  sConfig.IC1Filter = 0;
	  sConfig.IC2Polarity = TIM_ICPOLARITY_RISING;
	  sConfig.IC2Selection = TIM_ICSELECTION_DIRECTTI;
	  sConfig.IC2Prescaler = TIM_ICPSC_DIV1;
	  sConfig.IC2Filter = 0;
	  if (HAL_TIM_Encoder_Init(&htim5, &sConfig) != HAL_OK)
	  {
		Error_Handler();
	  }
	  sMasterConfig.MasterOutputTrigger = TIM_TRGO_RESET;
	  sMasterConfig.MasterSlaveMode = TIM_MASTERSLAVEMODE_DISABLE;
	  if (HAL_TIMEx_MasterConfigSynchronization(&htim5, &sMasterConfig) != HAL_OK)
	  {
		Error_Handler();
	  }

	}

	/**
	  * @brief TIM8 Initialization Function
	  * @param None
	  * @retval None
	  */
	static void MX_TIM8_Init(void)
	{

	  TIM_ClockConfigTypeDef sClockSourceConfig = {0};
	  TIM_MasterConfigTypeDef sMasterConfig = {0};

	  htim8.Instance = TIM8;
	  htim8.Init.Prescaler = 0;
	  htim8.Init.CounterMode = TIM_COUNTERMODE_UP;
	  htim8.Init.Period = 7199;
	  htim8.Init.ClockDivision = TIM_CLOCKDIVISION_DIV1;
	  htim8.Init.RepetitionCounter = 0;
	  htim8.Init.AutoReloadPreload = TIM_AUTORELOAD_PRELOAD_DISABLE;
	  if (HAL_TIM_Base_Init(&htim8) != HAL_OK)
	  {
		Error_Handler();
	  }
	  sClockSourceConfig.ClockSource = TIM_CLOCKSOURCE_INTERNAL;
	  if (HAL_TIM_ConfigClockSource(&htim8, &sClockSourceConfig) != HAL_OK)
	  {
		Error_Handler();
	  }
	  sMasterConfig.MasterOutputTrigger = TIM_TRGO_RESET;
	  sMasterConfig.MasterSlaveMode = TIM_MASTERSLAVEMODE_DISABLE;
	  if (HAL_TIMEx_MasterConfigSynchronization(&htim8, &sMasterConfig) != HAL_OK)
	  {
		Error_Handler();
	  }

	}

	/**
	  * @brief TIM11 Initialization Function
	  * @param None
	  * @retval None
	  */
	static void MX_TIM11_Init(void)
	{

	  TIM_OC_InitTypeDef sConfigOC = {0};

	  htim11.Instance = TIM11;
	  htim11.Init.Prescaler = 0;
	  htim11.Init.CounterMode = TIM_COUNTERMODE_UP;
	  htim11.Init.Period = 7199;
	  htim11.Init.ClockDivision = TIM_CLOCKDIVISION_DIV1;
	  htim11.Init.AutoReloadPreload = TIM_AUTORELOAD_PRELOAD_DISABLE;
	  if (HAL_TIM_Base_Init(&htim11) != HAL_OK)
	  {
		Error_Handler();
	  }
	  if (HAL_TIM_PWM_Init(&htim11) != HAL_OK)
	  {
		Error_Handler();
	  }
	  sConfigOC.OCMode = TIM_OCMODE_PWM1;
	  sConfigOC.Pulse = 0;
	  sConfigOC.OCPolarity = TIM_OCPOLARITY_HIGH;
	  sConfigOC.OCFastMode = TIM_OCFAST_DISABLE;
	  if (HAL_TIM_PWM_ConfigChannel(&htim11, &sConfigOC, TIM_CHANNEL_1) != HAL_OK)
	  {
		Error_Handler();
	  }

	}

	/**
	  * @brief USART2 Initialization Function
	  * @param None
	  * @retval None
	  */
	static void MX_USART2_UART_Init(void)
	{

	  huart2.Instance = USART2;
	  huart2.Init.BaudRate = 9600;
	  huart2.Init.WordLength = UART_WORDLENGTH_8B;
	  huart2.Init.StopBits = UART_STOPBITS_1;
	  huart2.Init.Parity = UART_PARITY_NONE;
	  huart2.Init.Mode = UART_MODE_TX_RX;
	  huart2.Init.HwFlowCtl = UART_HWCONTROL_NONE;
	  huart2.Init.OverSampling = UART_OVERSAMPLING_16;
	  if (HAL_UART_Init(&huart2) != HAL_OK)
	  {
		Error_Handler();
	  }

	}

	/**
	  * @brief USART3 Initialization Function
	  * @param None
	  * @retval None
	  */
	static void MX_USART3_UART_Init(void)
	{

	  huart3.Instance = USART3;
	  huart3.Init.BaudRate = 115200;
	  huart3.Init.WordLength = UART_WORDLENGTH_8B;
	  huart3.Init.StopBits = UART_STOPBITS_1;
	  huart3.Init.Parity = UART_PARITY_NONE;
	  huart3.Init.Mode = UART_MODE_TX_RX;
	  huart3.Init.HwFlowCtl = UART_HWCONTROL_NONE;
	  huart3.Init.OverSampling = UART_OVERSAMPLING_16;
	  if (HAL_UART_Init(&huart3) != HAL_OK)
	  {
		Error_Handler();
	  }

	}

	/**
	  * @brief GPIO Initialization Function
	  * @param None
	  * @retval None
	  */
	static void MX_GPIO_Init(void)
	{
	  GPIO_InitTypeDef GPIO_InitStruct = {0};

	  /* GPIO Ports Clock Enable */
	  __HAL_RCC_GPIOH_CLK_ENABLE();
	  __HAL_RCC_GPIOA_CLK_ENABLE();
	  __HAL_RCC_GPIOE_CLK_ENABLE();
	  __HAL_RCC_GPIOB_CLK_ENABLE();
	  __HAL_RCC_GPIOD_CLK_ENABLE();
	  __HAL_RCC_GPIOC_CLK_ENABLE();

	  /*Configure GPIO pin Output Level */
	  HAL_GPIO_WritePin(GPIOD, OLED4_Pin|OLED3_Pin|OLED2_Pin|OLED1_Pin, GPIO_PIN_RESET);

	  /*Configure GPIO pin Output Level */
	  HAL_GPIO_WritePin(GPIOA, Buzzer_Pin|LED_Pin, GPIO_PIN_RESET);

	  /*Configure GPIO pins : OLED4_Pin OLED3_Pin OLED2_Pin OLED1_Pin */
	  GPIO_InitStruct.Pin = OLED4_Pin|OLED3_Pin|OLED2_Pin|OLED1_Pin;
	  GPIO_InitStruct.Mode = GPIO_MODE_OUTPUT_PP;
	  GPIO_InitStruct.Pull = GPIO_NOPULL;
	  GPIO_InitStruct.Speed = GPIO_SPEED_FREQ_LOW;
	  HAL_GPIO_Init(GPIOD, &GPIO_InitStruct);

	  /*Configure GPIO pins : Buzzer_Pin LED_Pin */
	  GPIO_InitStruct.Pin = Buzzer_Pin|LED_Pin;
	  GPIO_InitStruct.Mode = GPIO_MODE_OUTPUT_PP;
	  GPIO_InitStruct.Pull = GPIO_NOPULL;
	  GPIO_InitStruct.Speed = GPIO_SPEED_FREQ_LOW;
	  HAL_GPIO_Init(GPIOA, &GPIO_InitStruct);

	  /*Configure GPIO pins : USER_PB_Pin IMU_INT_Pin */
	  GPIO_InitStruct.Pin = USER_PB_Pin|IMU_INT_Pin;
	  GPIO_InitStruct.Mode = GPIO_MODE_IT_RISING;
	  GPIO_InitStruct.Pull = GPIO_NOPULL;
	  HAL_GPIO_Init(GPIOE, &GPIO_InitStruct);

	  /* EXTI interrupt init*/
	  HAL_NVIC_SetPriority(EXTI0_IRQn, 0, 0);
	  HAL_NVIC_EnableIRQ(EXTI0_IRQn);

	  HAL_NVIC_SetPriority(EXTI1_IRQn, 0, 0);
	  HAL_NVIC_EnableIRQ(EXTI1_IRQn);

	}

	/* USER CODE BEGIN 4 */
	/*
	void OLED_show(void *argument, int y, int x) // display message on OLED panel
	{
		//uint8_t hello[20]="Hello World";
		OLED_Init();
		OLED_Display_On();
	//	OLED_ShowString(10,10,argument);
		OLED_ShowString(y, x, argument);
		OLED_Refresh_Gram();
	}
	*/

	/* USER CODE END 4 */

	/**
	  * @brief  This function is executed in case of error occurrence.
	  * @retval None
	  */
	void Error_Handler(void)
	{
	  __disable_irq();
	  while (1)
	  {
	  }
	}

	#ifdef  USE_FULL_ASSERT
	/**
	  * @brief  Reports the name of the source file and the source line number
	  *         where the assert_param error has occurred.
	  * @param  file: pointer to the source file name
	  * @param  line: assert_param error line source number
	  * @retval None
	  */
	void assert_failed(uint8_t *file, uint32_t line)
	{
	}
	#endif /* USE_FULL_ASSERT */
